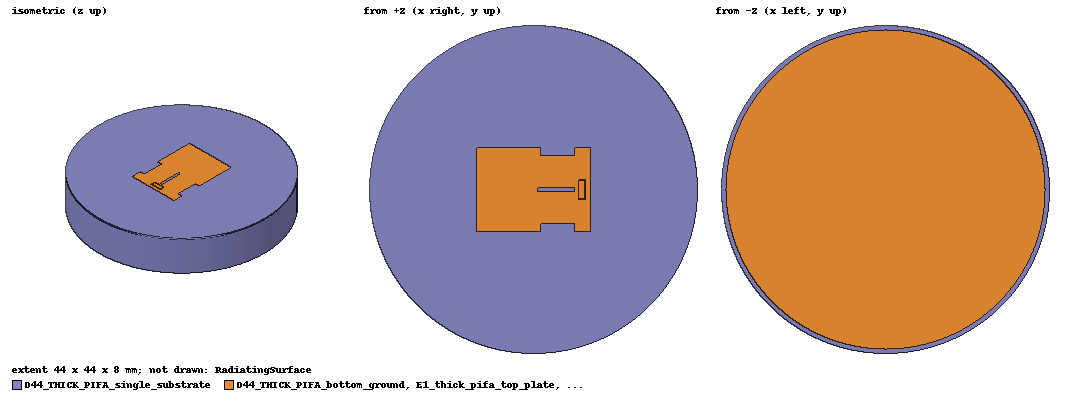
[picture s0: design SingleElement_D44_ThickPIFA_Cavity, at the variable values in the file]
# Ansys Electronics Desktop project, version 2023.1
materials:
  vacuum: permittivity=1
  RO4350B_custom_D44_Topology: permittivity=3.48 permeability=1 dielectric_loss_tangent=0.0037
  copper: permeability=0.999991 conductivity=58000000
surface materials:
  Steel-oxidised-surface

design SingleElement_D44_ThickPIFA_Cavity (HFSS, HFSS Modal Network, model units mm)
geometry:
  D44_THICK_PIFA_single_substrate [RO4350B_custom_D44_Topology] = cylinder(axis=Z, base_centre=(0mm, 0mm, 0mm), radius=22mm, height=8mm, segments=128)
  D44_THICK_PIFA_bottom_ground [copper] = circle(normal=Z, centre=(0mm, 0mm, 0mm), radius=21.4mm, segments=128)
  E1_thick_pifa_top_plate [copper] = polyline(z=8mm, xy in mm: (-7.7, -5.6) (7.7, -5.6) (7.7, 5.6) (-7.7, 5.6) (-7.7, -5.6), closed, covered)
  E1_thick_pifa_top_current_path_slot = polyline(z=8mm, xy in mm: (0.5, -0.275) (5.5, -0.275) (5.5, 0.275) (0.5, 0.275) (0.5, -0.275), closed, covered)
  E1_thick_pifa_edge_current_path_slot_pos = polyline(z=8mm, xy in mm: (0.9, 4.55) (5.5, 4.55) (5.5, 5.6) (0.9, 5.6) (0.9, 4.55), closed, covered)
  E1_thick_pifa_edge_current_path_slot_neg = polyline(z=8mm, xy in mm: (0.9, -5.6) (5.5, -5.6) (5.5, -4.55) (0.9, -4.55) (0.9, -5.6), closed, covered)
  E1_thick_pifa_capacitive_feed_gap = polyline(z=8mm, xy in mm: (5.97, -1.28) (6.93, -1.28) (6.93, 1.28) (5.97, 1.28) (5.97, -1.28), closed, covered)
  E1_thick_pifa_top_plate.subtract(E1_thick_pifa_top_current_path_slot, E1_thick_pifa_edge_current_path_slot_pos, E1_thick_pifa_edge_current_path_slot_neg, E1_thick_pifa_capacitive_feed_gap)
  E1_thick_pifa_capacitive_feed_island [copper] = polyline(z=8mm, xy in mm: (6.05, -1.2) (6.85, -1.2) (6.85, 1.2) (6.05, 1.2) (6.05, -1.2), closed, covered)
  E1_thick_pifa_short_wall [copper] = polyline(x=-7.7mm, yz in mm: (-3, 0) (3, 0) (3, 8) (-3, 8) (-3, 0), closed, covered)
  E1_thick_pifa_side_fence_pos [copper] = polyline(y=5.6mm, xz in mm: (-5.7, 0) (0.9, 0) (0.9, 8) (-5.7, 8) (-5.7, 0), closed, covered)
  E1_thick_pifa_side_fence_neg [copper] = polyline(y=-5.6mm, xz in mm: (-5.7, 0) (0.9, 0) (0.9, 8) (-5.7, 8) (-5.7, 0), closed, covered)
  E1_thick_pifa_open_edge_lip [copper] = polyline(x=7.7mm, yz in mm: (-3.5, 6.8) (3.5, 6.8) (3.5, 8) (-3.5, 8) (-3.5, 6.8), closed, covered)
  E1_thick_pifa_open_edge_coupler_pos [copper] = polyline(y=5.6mm, xz in mm: (2.3, 0.8) (7.7, 0.8) (7.7, 8) (2.3, 8) (2.3, 0.8), closed, covered)
  E1_thick_pifa_open_edge_coupler_neg [copper] = polyline(y=-5.6mm, xz in mm: (2.3, 0.8) (7.7, 0.8) (7.7, 8) (2.3, 8) (2.3, 0.8), closed, covered)
  P1_lumped_port_sheet = polyline(x=6.45mm, yz in mm: (-0.325, 0) (0.325, 0) (0.325, 8) (-0.325, 8) (-0.325, 0), closed, covered)
  RadiatingSurface [vacuum] = region(absolute_offset=14.285714mm on all sides)
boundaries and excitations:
  D44_THICK_PIFA_PEC_metallization: Perfect E Objects=[D44_THICK_PIFA_bottom_ground, E1_thick_pifa_top_plate, E1_thick_pifa_capacitive_feed_island, E1_thick_pifa_short_wall, E1_thick_pifa_side_fence_pos, E1_thick_pifa_side_fence_neg, E1_thick_pifa_open_edge_lip, E1_thick_pifa_open_edge_coupler_pos, E1_thick_pifa_open_edge_coupler_neg]
  Open1: Radiation Objects=RadiatingSurface
  P1: Lumped Port Objects=P1_lumped_port_sheet LumpedPortType=Modal Modes{Mode1{IntLine{(6.45, 0, 8) -> (6.45, 0, 0)} CharImp=Zpi RenormImp=50ohm}} Impedance=50ohm
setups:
  Setup_CH9: HfssDriven Frequency=8GHz MaxDeltaS=0.03 MaximumPasses=5 MinimumPasses=2 MinimumConvergedPasses=1 PercentRefinement=30 BasisOrder=1 PortAccuracy=2 DrivenSolverType="Direct Solver"
    sweep Sweep_CH9: point 8GHz; SaveSingleField Type=Discrete SaveFields SaveRadFields
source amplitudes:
  P1:1: 1W 0deg
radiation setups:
  3D: Infinite Sphere Theta=0deg..180deg step 2deg Phi=-180deg..180deg step 2deg
  Elevation: Infinite Sphere Theta=-180deg..180deg step 1deg Phi=0deg..90deg step 90deg
  Azimuth: Infinite Sphere Theta=90deg..90deg step 0deg Phi=-180deg..180deg step 1deg
  Upper_Hemisphere_5deg: Infinite Sphere Theta=0deg..360deg step 5deg Phi=0deg..90deg step 5deg
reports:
  D44_THICK_PIFA_SINGLE_S_Parameters: dB(S(P1:1,P1:1)) vs Freq on Setup_CH9 : Sweep_CH9
  D44_THICK_PIFA_SINGLE_GainTotal_8GHz: dB(GainTotal) vs Phi, Theta on Setup_CH9 : Sweep_CH9, Upper_Hemisphere_5deg [Freq=8GHz]
  D44_THICK_PIFA_SINGLE_AxialRatio_8GHz: AxialRatioValue vs Phi, Theta on Setup_CH9 : Sweep_CH9, Upper_Hemisphere_5deg [Freq=8GHz]
